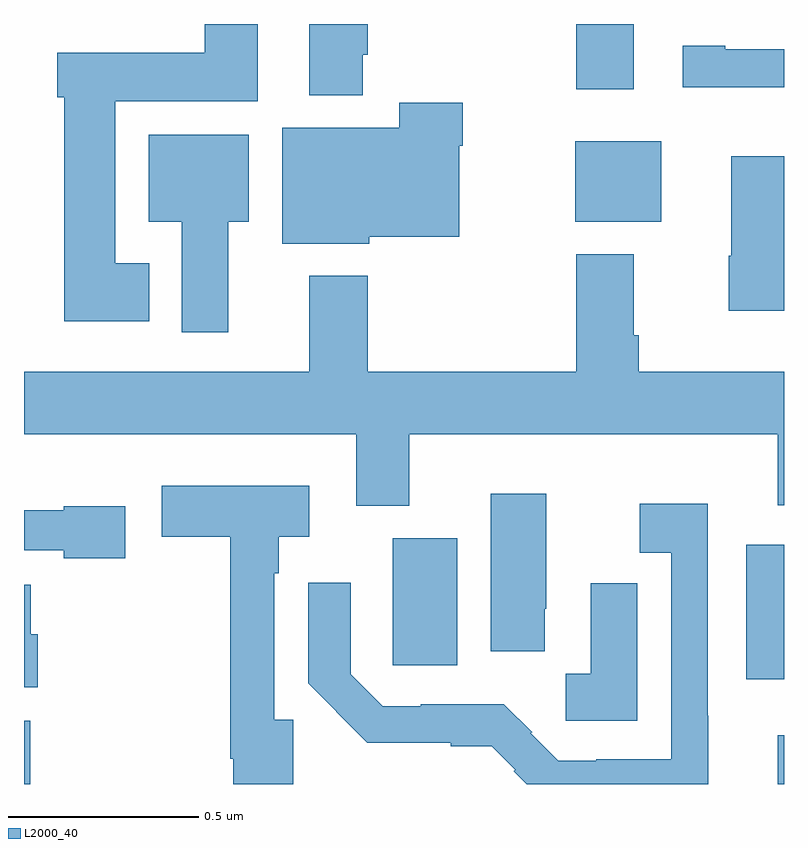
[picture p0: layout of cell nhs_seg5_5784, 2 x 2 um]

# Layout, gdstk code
import gdstk
lib = gdstk.Library(unit=1e-6, precision=1e-09)
def R(c, l, rs):  # rectangles x0, y0, x1, y1
    for r in rs: c.add(gdstk.rectangle(r[:2], r[2:], *l))
def P(c, l, *ps):  # polygons
    for p in ps: c.add(gdstk.Polygon(p, *l))
L2000_40 = (2000, 40)

nhs_seg5_5784 = lib.new_cell('nhs_seg5_5784')
R(nhs_seg5_5784, L2000_40, [(187,895.799,187.016,895.966), (188.984,895.799,189,895.927), (188.9,896.075,189,896.428), (187.97,896.112,188.14,896.446), (188.45,897.278,188.677,897.49), (188.453,897.627,188.605,897.799)])
P(nhs_seg5_5784, L2000_40, [(187.891,897.718),(187.904,897.718),(187.904,897.799),(187.751,897.799),(187.751,897.611),(187.891,897.611)],
  [(187.33,897.169),(187.24,897.169),(187.24,897.596),(187.615,897.596),(187.615,897.799),(187.475,897.799),(187.475,897.724),(187.088,897.724),(187.088,897.606),(187.106,897.606),(187.106,897.017),(187.33,897.017)],
  [(189,897.732),(188.845,897.732),(188.845,897.742),(188.733,897.742),(188.733,897.632),(189,897.632)],
  [(187.908,897.239),(188.146,897.239),(188.146,897.479),(188.154,897.479),(188.154,897.592),(187.988,897.592),(187.988,897.526),(187.679,897.526),(187.679,897.221),(187.908,897.221)],
  [(187.537,897.278),(187.591,897.278),(187.591,897.508),(187.328,897.508),(187.328,897.278),(187.415,897.278),(187.415,896.988),(187.537,896.988)],
  [(189,897.451),(188.861,897.451),(188.861,897.189),(188.855,897.189),(188.855,897.045),(189,897.045)],
  [(188.014,896.72),(188.984,896.72),(188.984,896.532),(189,896.532),(189,896.884),(188.618,896.884),(188.618,896.98),(188.605,896.98),(188.605,897.193),(188.453,897.193),(188.453,896.884),(187.904,896.884),(187.904,897.136),(187.751,897.136),(187.751,896.884),(187,896.884),(187,896.72),(187.874,896.72),(187.874,896.531),(188.014,896.531)],
  [(187.709,895.968),(187.659,895.968),(187.659,896.354),(187.671,896.354),(187.671,896.45),(187.75,896.45),(187.75,896.584),(187.362,896.584),(187.362,896.45),(187.543,896.45),(187.543,895.865),(187.55,895.865),(187.55,895.799),(187.709,895.799)],
  [(188.37,896.26),(188.374,896.26),(188.374,896.563),(188.228,896.563),(188.228,896.149),(188.37,896.149)],
  [(188.801,895.979),(188.799,895.979),(188.799,896.536),(188.62,896.536),(188.62,896.408),(188.703,896.408),(188.703,895.864),(188.506,895.864),(188.506,895.86),(188.406,895.86),(188.334,895.932),(188.337,895.935),(188.263,896.009),(188.044,896.009),(188.044,896.004),(187.944,896.004),(187.86,896.088),(187.86,896.329),(187.748,896.329),(187.748,896.064),(187.822,895.99),(187.822,895.989),(187.903,895.907),(188.123,895.907),(188.123,895.899),(188.231,895.899),(188.293,895.837),(188.289,895.833),(188.323,895.799),(188.801,895.799)],
  [(187.267,896.53),(187.104,896.53),(187.104,896.519),(187,896.519),(187,896.414),(187.104,896.414),(187.104,896.393),(187.267,896.393)],
  [(188.614,896.327),(188.492,896.327),(188.492,896.089),(188.425,896.089),(188.425,895.966),(188.614,895.966)],
  [(187.036,896.193),(187.018,896.193),(187.018,896.324),(187,896.324),(187,896.054),(187.036,896.054)])

lib.write_gds('nhs_seg5_5784.gds')
